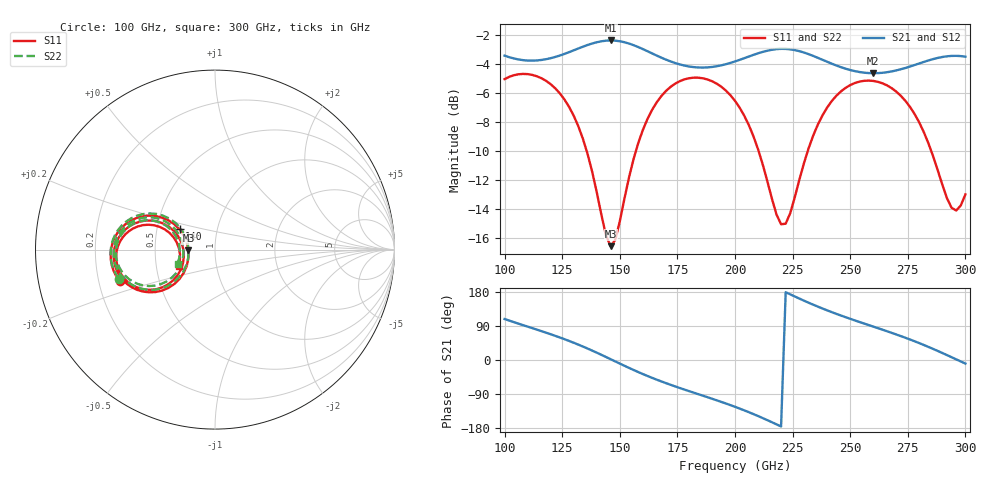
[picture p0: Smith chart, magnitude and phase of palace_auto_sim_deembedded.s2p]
! Created with skrf 1.11.0 (http://scikit-rf.org).
# GHz S DB R 50.0
!freq dBS11 angS11 dBS21 angS21 dBS12 angS12 dBS22 angS22
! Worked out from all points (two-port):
!   101 points, 100 GHz to 300 GHz, reference 50 ohm
!   highest |S21| = -2.37 dB at 146 GHz (marker M1); lowest = -4.6 dB at 260 GHz (marker M2)
!   |S21| within 3 dB of the highest: start of sweep to end of sweep
!   lowest |S11| = -16.6 dB at 146 GHz (marker M3), VSWR 1.35, Z = 37.1 - j0.305 ohm
!   |S11| at or under -10 dB: 135.6 GHz to 157 GHz (21.42 GHz wide, 14.6 % of centre); 210.2 GHz to 231.6 GHz (21.38 GHz wide, 9.68 % of centre); 285.1 GHz to end of sweep
!   |S22| runs from -16.7 to -4.7 dB; largest |S21 - S12| = 8.7e-14
!   S11 on the Smith chart (normalised r, x): 100 GHz: 0.29, -0.15; 140 GHz: 0.66, +0.16; 300 GHz: 0.65, -0.13
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100  -5.04 -161.7  -3.42 108.1  -3.42 108.1  -5.05 -163.2
108  -4.68 -174.4  -3.73 92.0  -3.73 92.0  -4.69 -176.0
116  -4.98 173.4  -3.72 76.1  -3.72 76.1  -4.99 171.7
126  -6.46 158.5  -3.30 54.9  -3.30 54.9  -6.47 156.6
134  -9.17 148.9  -2.80 35.5  -2.80 35.5  -9.19 146.9
140  -12.85 150.3  -2.50 19.3  -2.50 19.3  -12.89 148.1
146  -16.58 -178.4  -2.37 2.1  -2.37 2.1  -16.67 179.5
148  -16.16 -162.3  -2.39 -3.7  -2.39 -3.7  -16.24 -164.2
158  -9.47 -140.6  -2.83 -31.8  -2.83 -31.8  -9.48 -142.6
168  -6.22 -152.7  -3.56 -56.5  -3.56 -56.5  -6.23 -154.9
184  -4.94 -176.0  -4.24 -90.0  -4.24 -90.0  -4.95 -178.5
200  -6.55 162.0  -3.82 -123.5  -3.82 -123.5  -6.55 159.2
210  -9.89 153.2  -3.26 -147.9  -3.26 -147.9  -9.89 150.4
220  -15.07 179.3  -2.95 -175.5  -2.95 -175.5  -15.06 176.3
224  -14.29 -157.4  -2.99 173.2  -2.99 173.2  -14.29 -160.5
234  -8.92 -144.2  -3.44 145.8  -3.44 145.8  -8.92 -147.5
246  -5.89 -157.8  -4.22 117.3  -4.22 117.3  -5.90 -161.2
260  -5.17 -176.7  -4.64 88.2  -4.64 88.2  -5.18 179.7
268  -5.67 172.8  -4.51 71.6  -4.51 71.6  -5.68 169.1
284  -9.50 157.7  -3.75 34.4  -3.75 34.4  -9.51 153.6
294  -13.93 177.6  -3.44 7.4  -3.44 7.4  -13.96 173.5
300  -13.01 -155.3  -3.49 -9.4  -3.49 -9.4  -13.04 -159.4
